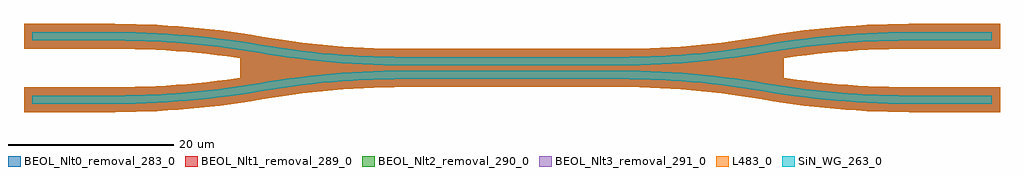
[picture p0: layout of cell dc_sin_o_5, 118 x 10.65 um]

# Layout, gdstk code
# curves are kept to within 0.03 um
import gdstk
lib = gdstk.Library(unit=1e-6, precision=1e-09)
def R(c, l, rs):  # rectangles x0, y0, x1, y1
    for r in rs: c.add(gdstk.rectangle(r[:2], r[2:], *l))
def P(c, l, *ps):  # polygons
    for p in ps: c.add(gdstk.Polygon(p, *l))
SiN_WG_263_0 = (263, 0)
BEOL_Nlt0_removal_283_0 = (283, 0)
BEOL_Nlt1_removal_289_0 = (289, 0)
BEOL_Nlt2_removal_290_0 = (290, 0)
BEOL_Nlt3_removal_291_0 = (291, 0)
L483_0 = (483, 0)

c_v2 = lib.new_cell('V2')
R(c_v2, SiN_WG_263_0, [(0,0,10,1), (106,0,116,1), (45,3,71,4), (45,4.65,71,5.65), (0,7.65,10,8.65), (106,7.65,116,8.65)])
P(c_v2, SiN_WG_263_0, [(106,0),(102.214,0.068),(99.693,0.192),(97.176,0.376),(94.664,0.623),(92.158,0.93),(88.415,1.507),(88.585,2.493),(92.291,1.922),(94.773,1.617),(97.261,1.373),(101.002,1.121),(103.5,1.03),(106,1)],
  [(88.415,1.507),(84.709,2.078),(82.227,2.383),(79.739,2.627),(75.998,2.879),(73.5,2.97),(71,3),(71,4),(74.786,3.932),(78.566,3.724),(82.336,3.377),(86.092,2.893),(88.585,2.493)],
  [(27.585,1.507),(27.415,2.493),(29.908,2.893),(33.664,3.377),(37.434,3.724),(41.214,3.932),(45,4),(45,3),(42.5,2.97),(40.002,2.879),(36.261,2.627),(33.773,2.383),(31.291,2.078)],
  [(10,0),(10,1),(12.5,1.03),(14.998,1.121),(18.739,1.373),(21.227,1.617),(23.709,1.922),(27.415,2.493),(27.585,1.507),(23.842,0.93),(21.336,0.623),(18.824,0.376),(16.307,0.192),(13.786,0.068)],
  [(88.585,6.157),(88.415,7.143),(90.908,7.543),(94.664,8.027),(98.434,8.374),(102.214,8.582),(106,8.65),(106,7.65),(103.5,7.62),(101.002,7.529),(97.261,7.277),(94.773,7.033),(92.291,6.728)],
  [(71,4.65),(71,5.65),(73.5,5.68),(75.998,5.771),(79.739,6.023),(82.227,6.267),(84.709,6.572),(88.415,7.143),(88.585,6.157),(84.842,5.58),(82.336,5.273),(79.824,5.026),(77.307,4.842),(74.786,4.718)],
  [(45,4.65),(41.214,4.718),(38.693,4.842),(36.176,5.026),(33.664,5.273),(31.158,5.58),(27.415,6.157),(27.585,7.143),(31.291,6.572),(33.773,6.267),(36.261,6.023),(40.002,5.771),(42.5,5.68),(45,5.65)],
  [(27.415,6.157),(23.709,6.728),(21.227,7.033),(18.739,7.277),(14.998,7.529),(12.5,7.62),(10,7.65),(10,8.65),(13.786,8.582),(17.566,8.374),(21.336,8.027),(25.092,7.543),(27.585,7.143)])

v2_nit0 = lib.new_cell('V2_nit0')
P(v2_nit0, BEOL_Nlt0_removal_283_0, [(-1,-1),(-1,2),(11.244,2.007),(14.943,2.119),(19.88,2.482),(22.341,2.754),(25.158,3.141),(25.158,5.509),(23.581,5.736),(21.123,6.039),(18.652,6.281),(16.179,6.463),(13.719,6.582),(9.994,6.65),(-1,6.65),(-1,9.65),(11.274,9.643),(13.822,9.581),(16.368,9.456),(18.91,9.27),(22.712,8.874),(25.238,8.532),(31.419,7.564),(35.12,7.132),(40.057,6.769),(45.006,6.65),(71,6.65),(75.943,6.769),(79.652,7.019),(82.123,7.261),(85.795,7.735),(92.024,8.711),(95.821,9.153),(98.361,9.371),(100.904,9.527),(104.726,9.643),(117,9.65),(117,6.65),(104.756,6.643),(101.057,6.531),(96.12,6.168),(93.659,5.896),(90.842,5.509),(90.842,3.141),(92.419,2.914),(94.877,2.611),(97.348,2.369),(99.821,2.187),(102.281,2.068),(106.006,2),(117,2),(117,-1),(104.726,-0.993),(102.178,-0.931),(99.632,-0.806),(97.09,-0.62),(93.288,-0.224),(90.762,0.118),(84.581,1.086),(80.88,1.518),(75.943,1.881),(70.994,2),(45,2),(40.057,1.881),(36.348,1.631),(33.877,1.389),(30.205,0.915),(23.976,-0.061),(20.179,-0.503),(17.639,-0.721),(15.096,-0.877),(11.274,-0.993)])

v2_nit1 = lib.new_cell('V2_nit1')
P(v2_nit1, BEOL_Nlt1_removal_289_0, [(-1,-1),(-1,2),(11.244,2.007),(14.943,2.119),(19.88,2.482),(22.341,2.754),(25.158,3.141),(25.158,5.509),(23.581,5.736),(21.123,6.039),(18.652,6.281),(16.179,6.463),(13.719,6.582),(9.994,6.65),(-1,6.65),(-1,9.65),(11.274,9.643),(13.822,9.581),(16.368,9.456),(18.91,9.27),(22.712,8.874),(25.238,8.532),(31.419,7.564),(35.12,7.132),(40.057,6.769),(45.006,6.65),(71,6.65),(75.943,6.769),(79.652,7.019),(82.123,7.261),(85.795,7.735),(92.024,8.711),(95.821,9.153),(98.361,9.371),(100.904,9.527),(104.726,9.643),(117,9.65),(117,6.65),(104.756,6.643),(101.057,6.531),(96.12,6.168),(93.659,5.896),(90.842,5.509),(90.842,3.141),(92.419,2.914),(94.877,2.611),(97.348,2.369),(99.821,2.187),(102.281,2.068),(106.006,2),(117,2),(117,-1),(104.726,-0.993),(102.178,-0.931),(99.632,-0.806),(97.09,-0.62),(93.288,-0.224),(90.762,0.118),(84.581,1.086),(80.88,1.518),(75.943,1.881),(70.994,2),(45,2),(40.057,1.881),(36.348,1.631),(33.877,1.389),(30.205,0.915),(23.976,-0.061),(20.179,-0.503),(17.639,-0.721),(15.096,-0.877),(11.274,-0.993)])

v2_nit2 = lib.new_cell('V2_nit2')
P(v2_nit2, BEOL_Nlt2_removal_290_0, [(-1,-1),(-1,2),(11.244,2.007),(14.943,2.119),(19.88,2.482),(22.341,2.754),(25.158,3.141),(25.158,5.509),(23.581,5.736),(21.123,6.039),(18.652,6.281),(16.179,6.463),(13.719,6.582),(9.994,6.65),(-1,6.65),(-1,9.65),(11.274,9.643),(13.822,9.581),(16.368,9.456),(18.91,9.27),(22.712,8.874),(25.238,8.532),(31.419,7.564),(35.12,7.132),(40.057,6.769),(45.006,6.65),(71,6.65),(75.943,6.769),(79.652,7.019),(82.123,7.261),(85.795,7.735),(92.024,8.711),(95.821,9.153),(98.361,9.371),(100.904,9.527),(104.726,9.643),(117,9.65),(117,6.65),(104.756,6.643),(101.057,6.531),(96.12,6.168),(93.659,5.896),(90.842,5.509),(90.842,3.141),(92.419,2.914),(94.877,2.611),(97.348,2.369),(99.821,2.187),(102.281,2.068),(106.006,2),(117,2),(117,-1),(104.726,-0.993),(102.178,-0.931),(99.632,-0.806),(97.09,-0.62),(93.288,-0.224),(90.762,0.118),(84.581,1.086),(80.88,1.518),(75.943,1.881),(70.994,2),(45,2),(40.057,1.881),(36.348,1.631),(33.877,1.389),(30.205,0.915),(23.976,-0.061),(20.179,-0.503),(17.639,-0.721),(15.096,-0.877),(11.274,-0.993)])

v2_nit3 = lib.new_cell('V2_nit3')
P(v2_nit3, BEOL_Nlt3_removal_291_0, [(-1,-1),(-1,2),(11.244,2.007),(14.943,2.119),(19.88,2.482),(22.341,2.754),(25.158,3.141),(25.158,5.509),(23.581,5.736),(21.123,6.039),(18.652,6.281),(16.179,6.463),(13.719,6.582),(9.994,6.65),(-1,6.65),(-1,9.65),(11.274,9.643),(13.822,9.581),(16.368,9.456),(18.91,9.27),(22.712,8.874),(25.238,8.532),(31.419,7.564),(35.12,7.132),(40.057,6.769),(45.006,6.65),(71,6.65),(75.943,6.769),(79.652,7.019),(82.123,7.261),(85.795,7.735),(92.024,8.711),(95.821,9.153),(98.361,9.371),(100.904,9.527),(104.726,9.643),(117,9.65),(117,6.65),(104.756,6.643),(101.057,6.531),(96.12,6.168),(93.659,5.896),(90.842,5.509),(90.842,3.141),(92.419,2.914),(94.877,2.611),(97.348,2.369),(99.821,2.187),(102.281,2.068),(106.006,2),(117,2),(117,-1),(104.726,-0.993),(102.178,-0.931),(99.632,-0.806),(97.09,-0.62),(93.288,-0.224),(90.762,0.118),(84.581,1.086),(80.88,1.518),(75.943,1.881),(70.994,2),(45,2),(40.057,1.881),(36.348,1.631),(33.877,1.389),(30.205,0.915),(23.976,-0.061),(20.179,-0.503),(17.639,-0.721),(15.096,-0.877),(11.274,-0.993)])

v2_nitpasv = lib.new_cell('V2_nitpasv')
P(v2_nitpasv, L483_0, [(-1,-1),(-1,2),(11.244,2.007),(14.943,2.119),(19.88,2.482),(22.341,2.754),(25.158,3.141),(25.158,5.509),(23.581,5.736),(21.123,6.039),(18.652,6.281),(16.179,6.463),(13.719,6.582),(9.994,6.65),(-1,6.65),(-1,9.65),(11.274,9.643),(13.822,9.581),(16.368,9.456),(18.91,9.27),(22.712,8.874),(25.238,8.532),(31.419,7.564),(35.12,7.132),(40.057,6.769),(45.006,6.65),(71,6.65),(75.943,6.769),(79.652,7.019),(82.123,7.261),(85.795,7.735),(92.024,8.711),(95.821,9.153),(98.361,9.371),(100.904,9.527),(104.726,9.643),(117,9.65),(117,6.65),(104.756,6.643),(101.057,6.531),(96.12,6.168),(93.659,5.896),(90.842,5.509),(90.842,3.141),(92.419,2.914),(94.877,2.611),(97.348,2.369),(99.821,2.187),(102.281,2.068),(106.006,2),(117,2),(117,-1),(104.726,-0.993),(102.178,-0.931),(99.632,-0.806),(97.09,-0.62),(93.288,-0.224),(90.762,0.118),(84.581,1.086),(80.88,1.518),(75.943,1.881),(70.994,2),(45,2),(40.057,1.881),(36.348,1.631),(33.877,1.389),(30.205,0.915),(23.976,-0.061),(20.179,-0.503),(17.639,-0.721),(15.096,-0.877),(11.274,-0.993)])

dc_sin_o_5 = lib.new_cell('dc_sin_o_5')
dc_sin_o_5.add(gdstk.Reference(c_v2, (0,0)))
dc_sin_o_5.add(gdstk.Reference(v2_nit0, (0,0)))
dc_sin_o_5.add(gdstk.Reference(v2_nit1, (0,0)))
dc_sin_o_5.add(gdstk.Reference(v2_nit2, (0,0)))
dc_sin_o_5.add(gdstk.Reference(v2_nit3, (0,0)))
dc_sin_o_5.add(gdstk.Reference(v2_nitpasv, (0,0)))

lib.write_gds('dc_sin_o_5.gds')
